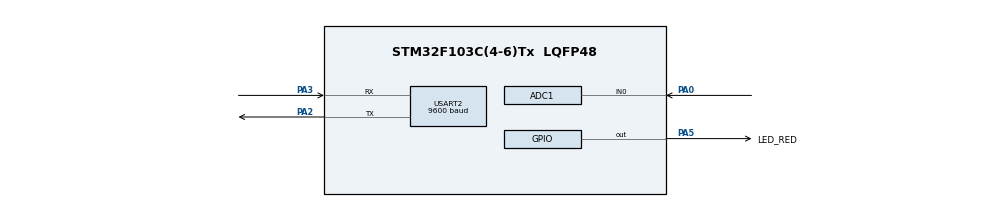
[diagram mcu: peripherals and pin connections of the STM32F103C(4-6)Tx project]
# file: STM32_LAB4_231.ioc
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ADC1.Channel-0\#ChannelRegularConversion=ADC_CHANNEL_0
ADC1.ContinuousConvMode=ENABLE
ADC1.NbrOfConversionFlag=1
ADC1.Rank-0\#ChannelRegularConversion=1
ADC1.SamplingTime-0\#ChannelRegularConversion=ADC_SAMPLETIME_1CYCLE_5
ADC1.master=1
Mcu.Family=STM32F1
Mcu.Name=STM32F103C(4-6)Tx
Mcu.Package=LQFP48
NVIC.PriorityGroup=NVIC_PRIORITYGROUP_4
NVIC.TIM2_IRQn=true\:0\:0\:false\:false\:true\:true\:true\:true
NVIC.USART2_IRQn=true\:0\:0\:false\:false\:true\:true\:true\:true
PA0-WKUP.Signal=ADCx_IN0
PA13.Mode=Serial_Wire
PA13.Signal=SYS_JTMS-SWDIO
PA14.Mode=Serial_Wire
PA14.Signal=SYS_JTCK-SWCLK
PA2.Mode=Asynchronous
PA2.Signal=USART2_TX
PA3.Mode=Asynchronous
PA3.Signal=USART2_RX
PA5.GPIO_Label=LED_RED
PA5.Signal=GPIO_Output
PA6.Signal=S_TIM3_CH1
ProjectManager.HeapSize=0x200
ProjectManager.StackSize=0x400
ProjectManager.TargetToolchain=STM32CubeIDE
RCC.APB1Freq_Value=8000000
RCC.APB2Freq_Value=8000000
SH.ADCx_IN0.0=ADC1_IN0,IN0
SH.S_TIM3_CH1.0=TIM3_CH1
TIM2.Period=9
TIM2.Prescaler=7999
USART2.BaudRate=9600
USART2.VirtualMode=VM_ASYNC
VP_TIM2_VS_ClockSourceINT.Mode=Internal
board=custom

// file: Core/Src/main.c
/* USER CODE BEGIN Header */
/**
  ******************************************************************************
  * @file           : main.c
  * @brief          : Main program body
  ******************************************************************************
  * @attention
  *
  * Copyright (c) 2023 STMicroelectronics.
  * All rights reserved.
  *
  * This software is licensed under terms that can be found in the LICENSE file
  * in the root directory of this software component.
  * If no LICENSE file comes with this software, it is provided AS-IS.
  *
  ******************************************************************************
  */
/* USER CODE END Header */
#include "main.h"

/* USER CODE BEGIN Includes */
#include"software_timer.h"
#include"uart_fsm.h"
#include<stdio.h>
#include"global.h"
/* USER CODE END Includes */

ADC_HandleTypeDef hadc1;

TIM_HandleTypeDef htim2;

UART_HandleTypeDef huart2;

void SystemClock_Config(void);
static void MX_GPIO_Init(void);
static void MX_TIM2_Init(void);
static void MX_ADC1_Init(void);
static void MX_USART2_UART_Init(void);

/* USER CODE BEGIN 0 */

uint8_t temp = 0;
// buffer[MAX_BUFFER_SIZE];
uint8_t index_buffer = 0;
//uint8_t buffer_flag = 0;

void HAL_UART_RxCpltCallback(UART_HandleTypeDef *huart){
	if(huart->Instance == USART2){
		buffer[index_buffer++]=temp;
		HAL_UART_Transmit(&huart2, &temp, 1, 50);
		if(index_buffer==100)index_buffer=0;

		buffer_flag=1;

		//HAL_UART_Transmit(&huart2,&temp,1,50);

		HAL_UART_Receive_IT(&huart2, &temp, 1);
	}
}

/* USER CODE END 0 */

int main(void)
{

  /* MCU Configuration--------------------------------------------------------*/

  /* Reset of all peripherals, Initializes the Flash interface and the Systick. */
  HAL_Init();

  /* Configure the system clock */
  SystemClock_Config();

  /* Initialize all configured peripherals */
  MX_GPIO_Init();
  MX_TIM2_Init();
  MX_ADC1_Init();
  MX_USART2_UART_Init();
  /* USER CODE BEGIN 2 */

  HAL_TIM_Base_Start_IT(&htim2);
  /* USER CODE END 2 */

  /* Infinite loop */
  /* USER CODE BEGIN WHILE */

  uint8_t pData[]="UART CONNECTED\r\n";
  //HAL_UART_Transmit(&huart2,str1, sizeof(str1), 1000);
 HAL_UART_Receive_IT(&huart2, &temp, 1);
 HAL_UART_Transmit(&huart2, pData, sizeof(pData), 1000);
 setTimer(1,100);
 setTimer(2,300);
  while (1)
  {
    /* USER CODE END WHILE */
	  if(timer_flag[1]==1){
	  HAL_GPIO_TogglePin (LED_RED_GPIO_Port, LED_RED_Pin ) ;
	  setTimer(1,100);
	  }
	  if(buffer_flag == 1){
	       command_parser_fsm();
	       buffer_flag = 0;
	      }
	uart_communiation_fsm();
//HAL_GPIO_TogglePin(LED_RED_GPIO_Port,LED_RED_Pin);
//HAL_ADC_Start(&hadc1);
	//HAL_ADC_Stop(&hadc1);
//ADC_value =  HAL_ADC_GetValue(&hadc1);
//HAL_UART_Transmit(&huart2, (void *)str, sprintf(str, "%d\r\n", ADC_value), 1000);

//HAL_UART_Receive(&huart2, pData,1,100);

//HAL_Delay(2000);
  }
}

void SystemClock_Config(void)
{
  RCC_OscInitTypeDef RCC_OscInitStruct = {0};
  RCC_ClkInitTypeDef RCC_ClkInitStruct = {0};
  RCC_PeriphCLKInitTypeDef PeriphClkInit = {0};

  /** Initializes the RCC Oscillators according to the specified parameters
  * in the RCC_OscInitTypeDef structure.
  */
  RCC_OscInitStruct.OscillatorType = RCC_OSCILLATORTYPE_HSI;
  RCC_OscInitStruct.HSIState = RCC_HSI_ON;
  RCC_OscInitStruct.HSICalibrationValue = RCC_HSICALIBRATION_DEFAULT;
  RCC_OscInitStruct.PLL.PLLState = RCC_PLL_NONE;
  if (HAL_RCC_OscConfig(&RCC_OscInitStruct) != HAL_OK)
  {
    Error_Handler();
  }

  /** Initializes the CPU, AHB and APB buses clocks
  */
  RCC_ClkInitStruct.ClockType = RCC_CLOCKTYPE_HCLK|RCC_CLOCKTYPE_SYSCLK
                              |RCC_CLOCKTYPE_PCLK1|RCC_CLOCKTYPE_PCLK2;
  RCC_ClkInitStruct.SYSCLKSource = RCC_SYSCLKSOURCE_HSI;
  RCC_ClkInitStruct.AHBCLKDivider = RCC_SYSCLK_DIV1;
  RCC_ClkInitStruct.APB1CLKDivider = RCC_HCLK_DIV1;
  RCC_ClkInitStruct.APB2CLKDivider = RCC_HCLK_DIV1;

  if (HAL_RCC_ClockConfig(&RCC_ClkInitStruct, FLASH_LATENCY_0) != HAL_OK)
  {
    Error_Handler();
  }
  PeriphClkInit.PeriphClockSelection = RCC_PERIPHCLK_ADC;
  PeriphClkInit.AdcClockSelection = RCC_ADCPCLK2_DIV2;
  if (HAL_RCCEx_PeriphCLKConfig(&PeriphClkInit) != HAL_OK)
  {
    Error_Handler();
  }
}

static void MX_ADC1_Init(void)
{

  ADC_ChannelConfTypeDef sConfig = {0};

  /** Common config
  */
  hadc1.Instance = ADC1;
  hadc1.Init.ScanConvMode = ADC_SCAN_DISABLE;
  hadc1.Init.ContinuousConvMode = ENABLE;
  hadc1.Init.DiscontinuousConvMode = DISABLE;
  hadc1.Init.ExternalTrigConv = ADC_SOFTWARE_START;
  hadc1.Init.DataAlign = ADC_DATAALIGN_RIGHT;
  hadc1.Init.NbrOfConversion = 1;
  if (HAL_ADC_Init(&hadc1) != HAL_OK)
  {
    Error_Handler();
  }

  /** Configure Regular Channel
  */
  sConfig.Channel = ADC_CHANNEL_0;
  sConfig.Rank = ADC_REGULAR_RANK_1;
  sConfig.SamplingTime = ADC_SAMPLETIME_1CYCLE_5;
  if (HAL_ADC_ConfigChannel(&hadc1, &sConfig) != HAL_OK)
  {
    Error_Handler();
  }

}

static void MX_TIM2_Init(void)
{

  TIM_ClockConfigTypeDef sClockSourceConfig = {0};
  TIM_MasterConfigTypeDef sMasterConfig = {0};

  htim2.Instance = TIM2;
  htim2.Init.Prescaler = 7999;
  htim2.Init.CounterMode = TIM_COUNTERMODE_UP;
  htim2.Init.Period = 9;
  htim2.Init.ClockDivision = TIM_CLOCKDIVISION_DIV1;
  htim2.Init.AutoReloadPreload = TIM_AUTORELOAD_PRELOAD_DISABLE;
  if (HAL_TIM_Base_Init(&htim2) != HAL_OK)
  {
    Error_Handler();
  }
  sClockSourceConfig.ClockSource = TIM_CLOCKSOURCE_INTERNAL;
  if (HAL_TIM_ConfigClockSource(&htim2, &sClockSourceConfig) != HAL_OK)
  {
    Error_Handler();
  }
  sMasterConfig.MasterOutputTrigger = TIM_TRGO_RESET;
  sMasterConfig.MasterSlaveMode = TIM_MASTERSLAVEMODE_DISABLE;
  if (HAL_TIMEx_MasterConfigSynchronization(&htim2, &sMasterConfig) != HAL_OK)
  {
    Error_Handler();
  }

}

static void MX_USART2_UART_Init(void)
{

  huart2.Instance = USART2;
  huart2.Init.BaudRate = 9600;
  huart2.Init.WordLength = UART_WORDLENGTH_8B;
  huart2.Init.StopBits = UART_STOPBITS_1;
  huart2.Init.Parity = UART_PARITY_NONE;
  huart2.Init.Mode = UART_MODE_TX_RX;
  huart2.Init.HwFlowCtl = UART_HWCONTROL_NONE;
  huart2.Init.OverSampling = UART_OVERSAMPLING_16;
  if (HAL_UART_Init(&huart2) != HAL_OK)
  {
    Error_Handler();
  }

}

static void MX_GPIO_Init(void)
{
  GPIO_InitTypeDef GPIO_InitStruct = {0};

  /* GPIO Ports Clock Enable */
  __HAL_RCC_GPIOA_CLK_ENABLE();

  /*Configure GPIO pin Output Level */
  HAL_GPIO_WritePin(LED_RED_GPIO_Port, LED_RED_Pin, GPIO_PIN_RESET);

  /*Configure GPIO pin : LED_RED_Pin */
  GPIO_InitStruct.Pin = LED_RED_Pin;
  GPIO_InitStruct.Mode = GPIO_MODE_OUTPUT_PP;
  GPIO_InitStruct.Pull = GPIO_NOPULL;
  GPIO_InitStruct.Speed = GPIO_SPEED_FREQ_LOW;
  HAL_GPIO_Init(LED_RED_GPIO_Port, &GPIO_InitStruct);

  /*Configure GPIO pin : PA6 */
  GPIO_InitStruct.Pin = GPIO_PIN_6;
  GPIO_InitStruct.Mode = GPIO_MODE_AF_PP;
  GPIO_InitStruct.Speed = GPIO_SPEED_FREQ_LOW;
  HAL_GPIO_Init(GPIOA, &GPIO_InitStruct);

}

/* USER CODE BEGIN 4 */
void HAL_TIM_PeriodElapsedCallback(TIM_HandleTypeDef *htim){
	timerRun(0);
	timerRun(1);

}
/* USER CODE END 4 */

void Error_Handler(void)
{
  __disable_irq();
  while (1)
  {
  }
}
